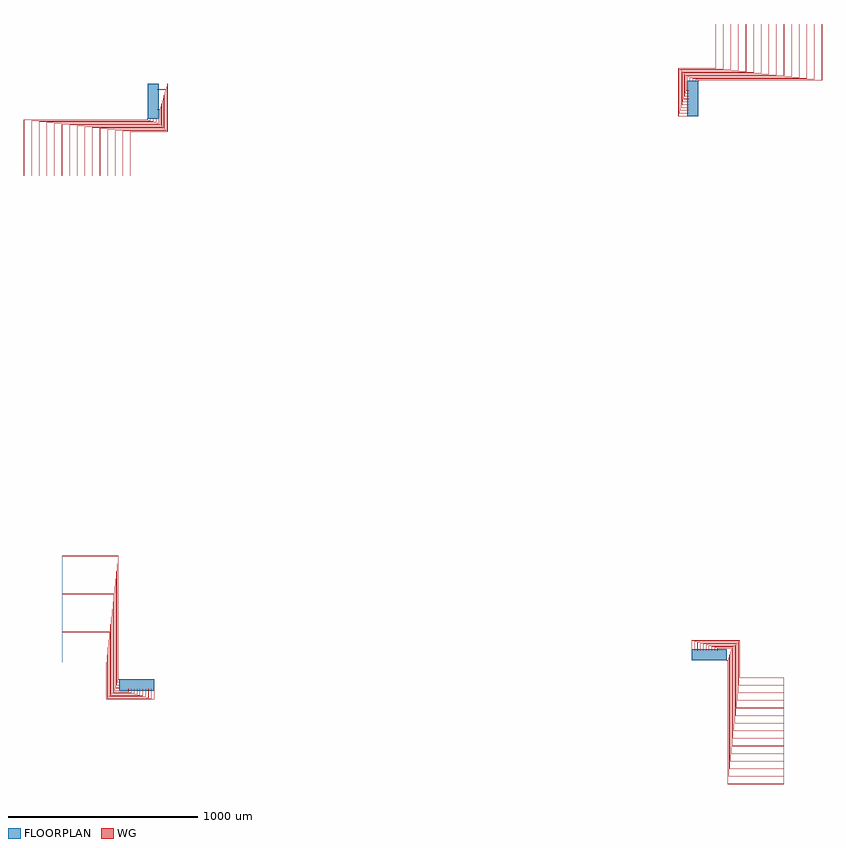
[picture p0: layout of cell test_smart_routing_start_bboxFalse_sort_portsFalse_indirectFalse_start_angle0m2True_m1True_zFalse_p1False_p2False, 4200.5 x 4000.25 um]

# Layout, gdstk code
import gdstk
lib = gdstk.Library(unit=1e-6, precision=1e-09)
def R(c, l, rs):  # rectangles x0, y0, x1, y1
    for r in rs: c.add(gdstk.rectangle(r[:2], r[2:], *l))
def P(c, l, *ps):  # polygons
    for p in ps: c.add(gdstk.Polygon(p, *l))
WG = (1, 0)
FLOORPLAN = (10, 0)

test_smart_routing_start = lib.new_cell('test_smart_routing_start_bboxFalse_sort_portsFalse_indirectFalse_start_angle0m2True_m1True_zFalse_p1False_p2False')
P(test_smart_routing_start, WG, [(-104.5,-50.25),(-104.5,599.75),(-400,599.75),(-400,600.25),(-104,600.25),(-104,-49.75),(-100,-49.75),(-100,-50.25)],
  [(-109,-65.25),(-109,559.75),(-400,559.75),(-400,560.25),(-108.5,560.25),(-108.5,-64.75),(-100,-64.75),(-100,-65.25)],
  [(-113.5,-80.25),(-113.5,519.75),(-400,519.75),(-400,520.25),(-113,520.25),(-113,-79.75),(-100,-79.75),(-100,-80.25)],
  [(-118,-95.25),(-118,479.75),(-400,479.75),(-400,480.25),(-117.5,480.25),(-117.5,-94.75),(-100,-94.75),(-100,-95.25)],
  [(-122.5,-110.25),(-122.5,439.75),(-400,439.75),(-400,440.25),(-122,440.25),(-122,-109.75),(-100,-109.75),(-100,-110.25)],
  [(-127,-114.75),(-127,399.75),(-400,399.75),(-400,400.25),(-126.5,400.25),(-126.5,-114.25),(-50.25,-114.25),(-50.25,-100),(-49.75,-100),(-49.75,-114.75)],
  [(-131.5,-119.25),(-131.5,359.75),(-400,359.75),(-400,360.25),(-131,360.25),(-131,-118.75),(-35.25,-118.75),(-35.25,-100),(-34.75,-100),(-34.75,-119.25)],
  [(-136,-123.75),(-136,319.75),(-400,319.75),(-400,320.25),(-135.5,320.25),(-135.5,-123.25),(-20.25,-123.25),(-20.25,-100),(-19.75,-100),(-19.75,-123.75)],
  [(-140.5,-128.25),(-140.5,279.75),(-400,279.75),(-400,280.25),(-140,280.25),(-140,-127.75),(-5.25,-127.75),(-5.25,-100),(-4.75,-100),(-4.75,-128.25)],
  [(-145,-132.75),(-145,239.75),(-400,239.75),(-400,240.25),(-144.5,240.25),(-144.5,-132.25),(9.75,-132.25),(9.75,-100),(10.25,-100),(10.25,-132.75)],
  [(-149.5,-137.25),(-149.5,199.75),(-400,199.75),(-400,200.25),(-149,200.25),(-149,-136.75),(24.75,-136.75),(24.75,-100),(25.25,-100),(25.25,-137.25)],
  [(-154,-141.75),(-154,159.75),(-400,159.75),(-400,160.25),(-153.5,160.25),(-153.5,-141.25),(39.75,-141.25),(39.75,-100),(40.25,-100),(40.25,-141.75)],
  [(-158.5,-146.25),(-158.5,119.75),(-400,119.75),(-400,120.25),(-158,120.25),(-158,-145.75),(54.75,-145.75),(54.75,-100),(55.25,-100),(55.25,-146.25)],
  [(-163,-150.75),(-163,79.75),(-400,79.75),(-400,80.25),(-162.5,80.25),(-162.5,-150.25),(69.75,-150.25),(69.75,-100),(70.25,-100),(70.25,-150.75)],
  [(-167.5,-155.25),(-167.5,39.75),(-400,39.75),(-400,40.25),(-167,40.25),(-167,-154.75),(84.75,-154.75),(84.75,-100),(85.25,-100),(85.25,-155.25)],
  [(-600.25,2600),(-600.25,2896),(49.75,2896),(49.75,2900),(50.25,2900),(50.25,2895.5),(-599.75,2895.5),(-599.75,2600)],
  [(-560.25,2600),(-560.25,2891.5),(64.75,2891.5),(64.75,2900),(65.25,2900),(65.25,2891),(-559.75,2891),(-559.75,2600)],
  [(-520.25,2600),(-520.25,2887),(79.75,2887),(79.75,2900),(80.25,2900),(80.25,2886.5),(-519.75,2886.5),(-519.75,2600)],
  [(-480.25,2600),(-480.25,2882.5),(94.75,2882.5),(94.75,2900),(95.25,2900),(95.25,2882),(-479.75,2882),(-479.75,2600)],
  [(-440.25,2600),(-440.25,2878),(109.75,2878),(109.75,2900),(110.25,2900),(110.25,2877.5),(-439.75,2877.5),(-439.75,2600)],
  [(-400.25,2600),(-400.25,2873.5),(114.25,2873.5),(114.25,2949.75),(100,2949.75),(100,2950.25),(114.75,2950.25),(114.75,2873),(-399.75,2873),(-399.75,2600)],
  [(-360.25,2600),(-360.25,2869),(118.75,2869),(118.75,2964.75),(100,2964.75),(100,2965.25),(119.25,2965.25),(119.25,2868.5),(-359.75,2868.5),(-359.75,2600)],
  [(-320.25,2600),(-320.25,2864.5),(123.25,2864.5),(123.25,2979.75),(100,2979.75),(100,2980.25),(123.75,2980.25),(123.75,2864),(-319.75,2864),(-319.75,2600)],
  [(-280.25,2600),(-280.25,2860),(127.75,2860),(127.75,2994.75),(100,2994.75),(100,2995.25),(128.25,2995.25),(128.25,2859.5),(-279.75,2859.5),(-279.75,2600)],
  [(-240.25,2600),(-240.25,2855.5),(132.25,2855.5),(132.25,3009.75),(100,3009.75),(100,3010.25),(132.75,3010.25),(132.75,2855),(-239.75,2855),(-239.75,2600)],
  [(-200.25,2600),(-200.25,2851),(136.75,2851),(136.75,3024.75),(100,3024.75),(100,3025.25),(137.25,3025.25),(137.25,2850.5),(-199.75,2850.5),(-199.75,2600)],
  [(-160.25,2600),(-160.25,2846.5),(141.25,2846.5),(141.25,3039.75),(100,3039.75),(100,3040.25),(141.75,3040.25),(141.75,2846),(-159.75,2846),(-159.75,2600)],
  [(-120.25,2600),(-120.25,2842),(145.75,2842),(145.75,3054.75),(100,3054.75),(100,3055.25),(146.25,3055.25),(146.25,2841.5),(-119.75,2841.5),(-119.75,2600)],
  [(-80.25,2600),(-80.25,2837.5),(150.25,2837.5),(150.25,3069.75),(100,3069.75),(100,3070.25),(150.75,3070.25),(150.75,2837),(-79.75,2837),(-79.75,2600)],
  [(-40.25,2600),(-40.25,2833),(154.75,2833),(154.75,3084.75),(100,3084.75),(100,3085.25),(155.25,3085.25),(155.25,2832.5),(-39.75,2832.5),(-39.75,2600)],
  [(3104,-600.25),(3104,49.75),(3100,49.75),(3100,50.25),(3104.5,50.25),(3104.5,-599.75),(3400,-599.75),(3400,-600.25)],
  [(3108.5,-560.25),(3108.5,64.75),(3100,64.75),(3100,65.25),(3109,65.25),(3109,-559.75),(3400,-559.75),(3400,-560.25)],
  [(3113,-520.25),(3113,79.75),(3100,79.75),(3100,80.25),(3113.5,80.25),(3113.5,-519.75),(3400,-519.75),(3400,-520.25)],
  [(3117.5,-480.25),(3117.5,94.75),(3100,94.75),(3100,95.25),(3118,95.25),(3118,-479.75),(3400,-479.75),(3400,-480.25)],
  [(3122,-440.25),(3122,109.75),(3100,109.75),(3100,110.25),(3122.5,110.25),(3122.5,-439.75),(3400,-439.75),(3400,-440.25)],
  [(3126.5,-400.25),(3126.5,114.25),(3050.25,114.25),(3050.25,100),(3049.75,100),(3049.75,114.75),(3127,114.75),(3127,-399.75),(3400,-399.75),(3400,-400.25)],
  [(3131,-360.25),(3131,118.75),(3035.25,118.75),(3035.25,100),(3034.75,100),(3034.75,119.25),(3131.5,119.25),(3131.5,-359.75),(3400,-359.75),(3400,-360.25)],
  [(3135.5,-320.25),(3135.5,123.25),(3020.25,123.25),(3020.25,100),(3019.75,100),(3019.75,123.75),(3136,123.75),(3136,-319.75),(3400,-319.75),(3400,-320.25)],
  [(3140,-280.25),(3140,127.75),(3005.25,127.75),(3005.25,100),(3004.75,100),(3004.75,128.25),(3140.5,128.25),(3140.5,-279.75),(3400,-279.75),(3400,-280.25)],
  [(3144.5,-240.25),(3144.5,132.25),(2990.25,132.25),(2990.25,100),(2989.75,100),(2989.75,132.75),(3145,132.75),(3145,-239.75),(3400,-239.75),(3400,-240.25)],
  [(3149,-200.25),(3149,136.75),(2975.25,136.75),(2975.25,100),(2974.75,100),(2974.75,137.25),(3149.5,137.25),(3149.5,-199.75),(3400,-199.75),(3400,-200.25)],
  [(3153.5,-160.25),(3153.5,141.25),(2960.25,141.25),(2960.25,100),(2959.75,100),(2959.75,141.75),(3154,141.75),(3154,-159.75),(3400,-159.75),(3400,-160.25)],
  [(3158,-120.25),(3158,145.75),(2945.25,145.75),(2945.25,100),(2944.75,100),(2944.75,146.25),(3158.5,146.25),(3158.5,-119.75),(3400,-119.75),(3400,-120.25)],
  [(3162.5,-80.25),(3162.5,150.25),(2930.25,150.25),(2930.25,100),(2929.75,100),(2929.75,150.75),(3163,150.75),(3163,-79.75),(3400,-79.75),(3400,-80.25)],
  [(3167,-40.25),(3167,154.75),(2915.25,154.75),(2915.25,100),(2914.75,100),(2914.75,155.25),(3167.5,155.25),(3167.5,-39.75),(3400,-39.75),(3400,-40.25)],
  [(2949.75,3100),(2949.75,3104.5),(3599.75,3104.5),(3599.75,3400),(3600.25,3400),(3600.25,3104),(2950.25,3104),(2950.25,3100)],
  [(2934.75,3100),(2934.75,3109),(3559.75,3109),(3559.75,3400),(3560.25,3400),(3560.25,3108.5),(2935.25,3108.5),(2935.25,3100)],
  [(2919.75,3100),(2919.75,3113.5),(3519.75,3113.5),(3519.75,3400),(3520.25,3400),(3520.25,3113),(2920.25,3113),(2920.25,3100)],
  [(2904.75,3100),(2904.75,3118),(3479.75,3118),(3479.75,3400),(3480.25,3400),(3480.25,3117.5),(2905.25,3117.5),(2905.25,3100)],
  [(2889.75,3100),(2889.75,3122.5),(3439.75,3122.5),(3439.75,3400),(3440.25,3400),(3440.25,3122),(2890.25,3122),(2890.25,3100)],
  [(2885.25,3049.75),(2885.25,3127),(3399.75,3127),(3399.75,3400),(3400.25,3400),(3400.25,3126.5),(2885.75,3126.5),(2885.75,3050.25),(2900,3050.25),(2900,3049.75)],
  [(2880.75,3034.75),(2880.75,3131.5),(3359.75,3131.5),(3359.75,3400),(3360.25,3400),(3360.25,3131),(2881.25,3131),(2881.25,3035.25),(2900,3035.25),(2900,3034.75)],
  [(2876.25,3019.75),(2876.25,3136),(3319.75,3136),(3319.75,3400),(3320.25,3400),(3320.25,3135.5),(2876.75,3135.5),(2876.75,3020.25),(2900,3020.25),(2900,3019.75)],
  [(2871.75,3004.75),(2871.75,3140.5),(3279.75,3140.5),(3279.75,3400),(3280.25,3400),(3280.25,3140),(2872.25,3140),(2872.25,3005.25),(2900,3005.25),(2900,3004.75)],
  [(2867.25,2989.75),(2867.25,3145),(3239.75,3145),(3239.75,3400),(3240.25,3400),(3240.25,3144.5),(2867.75,3144.5),(2867.75,2990.25),(2900,2990.25),(2900,2989.75)],
  [(2862.75,2974.75),(2862.75,3149.5),(3199.75,3149.5),(3199.75,3400),(3200.25,3400),(3200.25,3149),(2863.25,3149),(2863.25,2975.25),(2900,2975.25),(2900,2974.75)],
  [(2858.25,2959.75),(2858.25,3154),(3159.75,3154),(3159.75,3400),(3160.25,3400),(3160.25,3153.5),(2858.75,3153.5),(2858.75,2960.25),(2900,2960.25),(2900,2959.75)],
  [(2853.75,2944.75),(2853.75,3158.5),(3119.75,3158.5),(3119.75,3400),(3120.25,3400),(3120.25,3158),(2854.25,3158),(2854.25,2945.25),(2900,2945.25),(2900,2944.75)],
  [(2849.25,2929.75),(2849.25,3163),(3079.75,3163),(3079.75,3400),(3080.25,3400),(3080.25,3162.5),(2849.75,3162.5),(2849.75,2930.25),(2900,2930.25),(2900,2929.75)],
  [(2844.75,2914.75),(2844.75,3167.5),(3039.75,3167.5),(3039.75,3400),(3040.25,3400),(3040.25,3167),(2845.25,3167),(2845.25,2915.25),(2900,2915.25),(2900,2914.75)])
R(test_smart_routing_start, FLOORPLAN, [(-100,-110,85,-50), (2915,50,3100,110), (50,2900,110,3085), (2890,2915,2950,3100)])
P(test_smart_routing_start, FLOORPLAN, [(-400,40),(-400,600),(-400,600),(-400,40)],
  [(-600,2600),(-600,2600),(-40,2600),(-40,2600)],
  [(3400,-600),(3400,-40),(3400,-40),(3400,-600)],
  [(3040,3400),(3040,3400),(3600,3400),(3600,3400)])

lib.write_gds('test_smart_routing_start_bboxFalse_sort_portsFalse_indirectFalse_start_angle0m2True_m1True_zFalse_p1False_p2False.gds')
